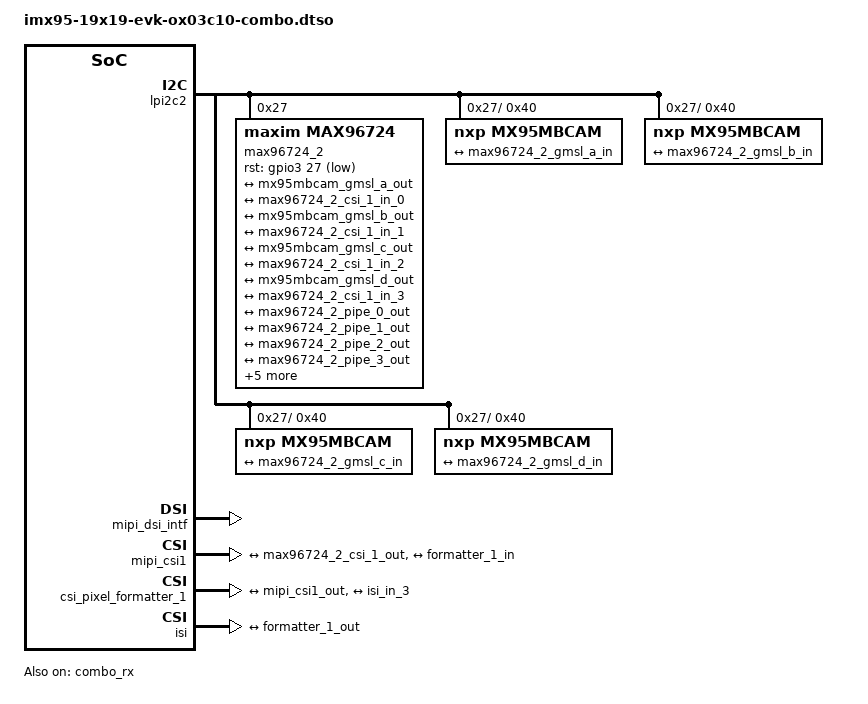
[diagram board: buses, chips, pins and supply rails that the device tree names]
// SPDX-License-Identifier: (GPL-2.0+ OR MIT)
/*
 * Copyright 2023 NXP
 */
/dts-v1/;
/plugin/;

#include <dt-bindings/gpio/gpio.h>
#include "imx95-pinfunc.h"

&lpi2c2 {
	#address-cells = <1>;
	#size-cells = <0>;
	status = "okay";

	max96724_2@27 {
		compatible = "maxim,max96724";
		reg = <0x27>;
		status = "okay";

		rst-gpios = <&gpio3 27 GPIO_ACTIVE_LOW>;

		#address-cells = <1>;
		#size-cells = <0>;

		ports {
			#address-cells = <1>;
			#size-cells = <0>;

			port@0 {
				reg = <0>;
				#address-cells = <1>;
				#size-cells = <0>;

				max96724_2_gmsl_a_in: endpoint@0 {
					reg = <0>;
					remote-endpoint = <&mx95mbcam_gmsl_a_out>;
				};

				max96724_2_pipe_0_out: endpoint@1 {
					reg = <1>;
					remote-endpoint = <&max96724_2_csi_1_in_0>;
				};
			};

			port@1 {
				reg = <1>;
				#address-cells = <1>;
				#size-cells = <0>;

				max96724_2_gmsl_b_in: endpoint@0 {
					reg = <0>;
					remote-endpoint = <&mx95mbcam_gmsl_b_out>;
				};

				max96724_2_pipe_1_out: endpoint@1 {
					reg = <1>;
					remote-endpoint = <&max96724_2_csi_1_in_1>;
				};
			};

			port@2 {
				reg = <2>;
				#address-cells = <1>;
				#size-cells = <0>;

				max96724_2_gmsl_c_in: endpoint@0 {
					reg = <0>;
					remote-endpoint = <&mx95mbcam_gmsl_c_out>;
				};

				max96724_2_pipe_2_out: endpoint@1 {
					reg = <1>;
					remote-endpoint = <&max96724_2_csi_1_in_2>;
				};
			};

			port@3 {
				reg = <3>;
				#address-cells = <1>;
				#size-cells = <0>;

				max96724_2_gmsl_d_in: endpoint@0 {
					reg = <0>;
					remote-endpoint = <&mx95mbcam_gmsl_d_out>;
				};

				max96724_2_pipe_3_out: endpoint@1 {
					reg = <1>;
					remote-endpoint = <&max96724_2_csi_1_in_3>;
				};
			};

			port@4 {
				reg = <4>;
				#address-cells = <1>;
				#size-cells = <0>;

				max96724_2_csi_1_in_0: endpoint@0 {
					reg = <0>;
					remote-endpoint = <&max96724_2_pipe_0_out>;
				};

				max96724_2_csi_1_in_1: endpoint@1 {
					reg = <1>;
					remote-endpoint = <&max96724_2_pipe_1_out>;
				};

				max96724_2_csi_1_in_2: endpoint@2 {
					reg = <2>;
					remote-endpoint = <&max96724_2_pipe_2_out>;
				};

				max96724_2_csi_1_in_3: endpoint@3 {
					reg = <3>;
					remote-endpoint = <&max96724_2_pipe_3_out>;
				};

				max96724_2_csi_1_out: endpoint@4 {
					reg = <4>;
					data-lanes = <1 2 3 4>;
					remote-endpoint = <&mipi_csi1_ep>;
				};
			};
		};

		i2c-mux {
			#address-cells = <1>;
			#size-cells = <0>;

			i2c@0 {
				#address-cells = <1>;
				#size-cells = <0>;
				reg = <0>;

				mx95mbcam@40 {
					compatible = "nxp,mx95mbcam";
					reg = <0x40>;
					nxp,camera_sensor_reset_pin = <8>;
					nxp,camera_sensor_clock_pin = <4>;

					orientation = <2>;
					rotation = <0>;

					port {
						mx95mbcam_gmsl_a_out: endpoint {
							remote-endpoint = <&max96724_2_gmsl_a_in>;
						};
					};
				};
			};

			i2c@1 {
				#address-cells = <1>;
				#size-cells = <0>;
				reg = <1>;

				mx95mbcam@40 {
					compatible = "nxp,mx95mbcam";
					reg = <0x40>;
					nxp,camera_sensor_reset_pin = <8>;
					nxp,camera_sensor_clock_pin = <4>;

					orientation = <2>;
					rotation = <0>;

					port {
						mx95mbcam_gmsl_b_out: endpoint {
							remote-endpoint = <&max96724_2_gmsl_b_in>;
						};
					};
				};
			};

			i2c@2 {
				#address-cells = <1>;
				#size-cells = <0>;
				reg = <2>;

				mx95mbcam@40 {
					compatible = "nxp,mx95mbcam";
					reg = <0x40>;
					nxp,camera_sensor_reset_pin = <8>;
					nxp,camera_sensor_clock_pin = <4>;

					orientation = <2>;
					rotation = <0>;

					port {
						mx95mbcam_gmsl_c_out: endpoint {
							remote-endpoint = <&max96724_2_gmsl_c_in>;
						};
					};
				};
			};

			i2c@3 {
				#address-cells = <1>;
				#size-cells = <0>;
				reg = <3>;


				mx95mbcam@40 {
					compatible = "nxp,mx95mbcam";
					reg = <0x40>;
					nxp,camera_sensor_reset_pin = <8>;
					nxp,camera_sensor_clock_pin = <4>;

					orientation = <2>;
					rotation = <0>;

					port {
						mx95mbcam_gmsl_d_out: endpoint {
							remote-endpoint = <&max96724_2_gmsl_d_in>;
						};
					};
				};
			};
		};
	};
};

&display_stream_csr {
	status = "disabled";
};

&display_master_csr {
	status = "disabled";
};

&mipi_tx_phy_csr {
	status = "disabled";
};

&mipi_dsi_intf {
	status = "okay";
};

&combo_rx {
	status = "okay";
};

&mipi_csi1 {
	status = "okay";
	virtual-channel;

	ports {
		#address-cells = <1>;
		#size-cells = <0>;

		port@0 {
			reg = <0>;
			mipi_csi1_ep: endpoint {
				remote-endpoint = <&max96724_2_csi_1_out>;
				data-lanes = <1 2 3 4>;
				clock-lanes = <0>;
			};
		};

		port@1 {
			reg = <1>;
				mipi_csi1_out: endpoint {
				remote-endpoint = <&formatter_1_in>;
			};
		};
	};
};

&csi_pixel_formatter_1 {
	status = "okay";

	ports {
		#address-cells = <1>;
		#size-cells = <0>;

		port@0 {
			reg = <0>;

			formatter_1_in: endpoint {
				remote-endpoint = <&mipi_csi1_out>;
			};
		};

		port@1 {
			reg = <1>;

			formatter_1_out: endpoint {
				remote-endpoint = <&isi_in_3>;
			};
		};
	};
};

&isi {
	status = "okay";

	ports {
		#address-cells = <1>;
		#size-cells = <0>;

		port@3 {
			reg = <3>;

			isi_in_3: endpoint {
				remote-endpoint = <&formatter_1_out>;
			};
		};
	};
};
